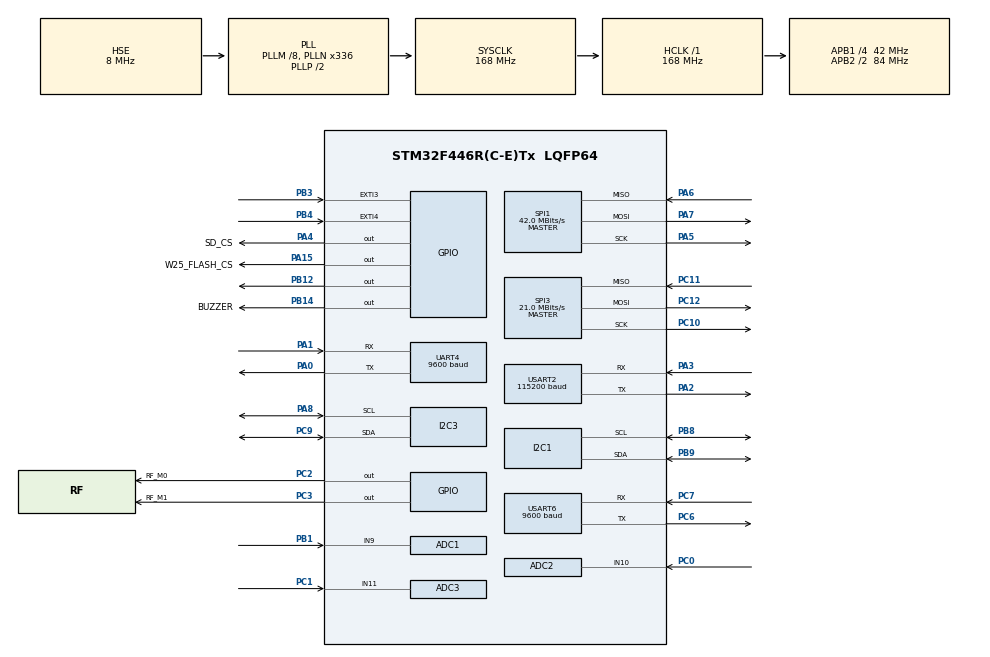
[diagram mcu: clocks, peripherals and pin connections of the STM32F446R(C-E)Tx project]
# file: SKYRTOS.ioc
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ADC1.Channel-1\#ChannelRegularConversion=ADC_CHANNEL_9
ADC1.NbrOfConversionFlag=1
ADC1.Rank-1\#ChannelRegularConversion=1
ADC1.SamplingTime-1\#ChannelRegularConversion=ADC_SAMPLETIME_15CYCLES
ADC1.master=1
ADC2.Channel-0\#ChannelRegularConversion=ADC_CHANNEL_10
ADC2.NbrOfConversionFlag=1
ADC2.Rank-0\#ChannelRegularConversion=1
ADC2.SamplingTime-0\#ChannelRegularConversion=ADC_SAMPLETIME_15CYCLES
ADC3.Channel-0\#ChannelRegularConversion=ADC_CHANNEL_11
ADC3.NbrOfConversionFlag=1
ADC3.Rank-0\#ChannelRegularConversion=1
ADC3.SamplingTime-0\#ChannelRegularConversion=ADC_SAMPLETIME_15CYCLES
Dma.I2C1_RX.3.Direction=DMA_PERIPH_TO_MEMORY
Dma.I2C1_RX.3.FIFOMode=DMA_FIFOMODE_DISABLE
Dma.I2C1_RX.3.Instance=DMA1_Stream0
Dma.I2C1_RX.3.MemDataAlignment=DMA_MDATAALIGN_BYTE
Dma.I2C1_RX.3.MemInc=DMA_MINC_ENABLE
Dma.I2C1_RX.3.Mode=DMA_NORMAL
Dma.I2C1_RX.3.PeriphDataAlignment=DMA_PDATAALIGN_BYTE
Dma.I2C1_RX.3.PeriphInc=DMA_PINC_DISABLE
Dma.I2C1_RX.3.Priority=DMA_PRIORITY_LOW
Dma.Request0=USART6_RX
Dma.Request1=USART2_TX
Dma.Request2=UART4_TX
Dma.Request3=I2C1_RX
Dma.Request4=USART2_RX
Dma.UART4_TX.2.Direction=DMA_MEMORY_TO_PERIPH
Dma.UART4_TX.2.FIFOMode=DMA_FIFOMODE_DISABLE
Dma.UART4_TX.2.Instance=DMA1_Stream4
Dma.UART4_TX.2.MemDataAlignment=DMA_MDATAALIGN_BYTE
Dma.UART4_TX.2.MemInc=DMA_MINC_ENABLE
Dma.UART4_TX.2.Mode=DMA_NORMAL
Dma.UART4_TX.2.PeriphDataAlignment=DMA_PDATAALIGN_BYTE
Dma.UART4_TX.2.PeriphInc=DMA_PINC_DISABLE
Dma.UART4_TX.2.Priority=DMA_PRIORITY_LOW
Dma.USART2_RX.4.Direction=DMA_PERIPH_TO_MEMORY
Dma.USART2_RX.4.FIFOMode=DMA_FIFOMODE_DISABLE
Dma.USART2_RX.4.Instance=DMA1_Stream5
Dma.USART2_RX.4.MemDataAlignment=DMA_MDATAALIGN_BYTE
Dma.USART2_RX.4.MemInc=DMA_MINC_ENABLE
Dma.USART2_RX.4.Mode=DMA_NORMAL
Dma.USART2_RX.4.PeriphDataAlignment=DMA_PDATAALIGN_BYTE
Dma.USART2_RX.4.PeriphInc=DMA_PINC_DISABLE
Dma.USART2_RX.4.Priority=DMA_PRIORITY_LOW
Dma.USART2_TX.1.Direction=DMA_MEMORY_TO_PERIPH
Dma.USART2_TX.1.FIFOMode=DMA_FIFOMODE_DISABLE
Dma.USART2_TX.1.Instance=DMA1_Stream6
Dma.USART2_TX.1.MemDataAlignment=DMA_MDATAALIGN_BYTE
Dma.USART2_TX.1.MemInc=DMA_MINC_ENABLE
Dma.USART2_TX.1.Mode=DMA_NORMAL
Dma.USART2_TX.1.PeriphDataAlignment=DMA_PDATAALIGN_BYTE
Dma.USART2_TX.1.PeriphInc=DMA_PINC_DISABLE
Dma.USART2_TX.1.Priority=DMA_PRIORITY_LOW
Dma.USART6_RX.0.Direction=DMA_PERIPH_TO_MEMORY
Dma.USART6_RX.0.FIFOMode=DMA_FIFOMODE_DISABLE
Dma.USART6_RX.0.Instance=DMA2_Stream2
Dma.USART6_RX.0.MemDataAlignment=DMA_MDATAALIGN_BYTE
Dma.USART6_RX.0.MemInc=DMA_MINC_ENABLE
Dma.USART6_RX.0.Mode=DMA_CIRCULAR
Dma.USART6_RX.0.PeriphDataAlignment=DMA_PDATAALIGN_BYTE
Dma.USART6_RX.0.PeriphInc=DMA_PINC_DISABLE
Dma.USART6_RX.0.Priority=DMA_PRIORITY_LOW
FREERTOS.Tasks01=defaultTask,24,128,StartDefaultTask,Default,NULL,Dynamic,NULL,NULL
FREERTOS.configENABLE_FPU=1
Mcu.Family=STM32F4
Mcu.Name=STM32F446R(C-E)Tx
Mcu.Package=LQFP64
NVIC.DMA1_Stream0_IRQn=true\:5\:0\:false\:false\:true\:true\:false\:true\:true
NVIC.DMA1_Stream4_IRQn=true\:5\:0\:false\:false\:true\:true\:false\:true\:true
NVIC.DMA1_Stream5_IRQn=true\:5\:0\:false\:false\:true\:true\:false\:true\:true
NVIC.DMA1_Stream6_IRQn=true\:5\:0\:false\:false\:true\:true\:false\:true\:true
NVIC.DMA2_Stream2_IRQn=true\:5\:0\:false\:false\:true\:true\:false\:true\:true
NVIC.EXTI3_IRQn=true\:5\:0\:false\:false\:true\:true\:true\:true\:true
NVIC.EXTI4_IRQn=true\:5\:0\:false\:false\:true\:true\:true\:true\:true
NVIC.I2C1_EV_IRQn=true\:5\:0\:false\:false\:true\:true\:true\:true\:true
NVIC.PriorityGroup=NVIC_PRIORITYGROUP_4
NVIC.TIM2_IRQn=true\:5\:0\:false\:false\:true\:true\:true\:true\:true
NVIC.TIM6_DAC_IRQn=true\:15\:0\:false\:false\:true\:false\:false\:true\:true
NVIC.TimeBase=TIM6_DAC_IRQn
NVIC.TimeBaseIP=TIM6
NVIC.UART4_IRQn=true\:5\:0\:false\:false\:true\:true\:true\:true\:true
NVIC.USART2_IRQn=true\:5\:0\:false\:false\:true\:true\:true\:true\:true
NVIC.USART6_IRQn=true\:5\:0\:false\:false\:true\:true\:true\:true\:true
PA0-WKUP.Mode=Asynchronous
PA0-WKUP.Signal=UART4_TX
PA1.Mode=Asynchronous
PA1.Signal=UART4_RX
PA13.Mode=Serial_Wire
PA13.Signal=SYS_JTMS-SWDIO
PA14.Mode=Serial_Wire
PA14.Signal=SYS_JTCK-SWCLK
PA15.GPIO_Label=W25_FLASH_CS
PA15.Signal=GPIO_Output
PA2.Mode=Asynchronous
PA2.Signal=USART2_TX
PA3.Mode=Asynchronous
PA3.Signal=USART2_RX
PA4.GPIO_Label=SD_CS
PA4.Signal=GPIO_Output
PA5.Mode=Full_Duplex_Master
PA5.Signal=SPI1_SCK
PA6.Mode=Full_Duplex_Master
PA6.Signal=SPI1_MISO
PA7.Mode=Full_Duplex_Master
PA7.Signal=SPI1_MOSI
PA8.GPIO_Pu=GPIO_NOPULL
PA8.Mode=I2C
PA8.Signal=I2C3_SCL
PB1.Signal=ADCx_IN9
PB12.GPIO_Speed=GPIO_SPEED_FREQ_VERY_HIGH
PB12.Signal=GPIO_Output
PB14.GPIO_Label=BUZZER
PB14.Signal=GPIO_Output
PB3.Signal=GPXTI3
PB4.Signal=GPXTI4
PB8.Mode=I2C
PB8.Signal=I2C1_SCL
PB9.Mode=I2C
PB9.Signal=I2C1_SDA
PC0.Signal=ADCx_IN10
PC1.Signal=ADCx_IN11
PC10.Mode=Full_Duplex_Master
PC10.Signal=SPI3_SCK
PC11.Mode=Full_Duplex_Master
PC11.Signal=SPI3_MISO
PC12.Mode=Full_Duplex_Master
PC12.Signal=SPI3_MOSI
PC14-OSC32_IN.Mode=LSE-External-Oscillator
PC14-OSC32_IN.Signal=RCC_OSC32_IN
PC15-OSC32_OUT.Mode=LSE-External-Oscillator
PC15-OSC32_OUT.Signal=RCC_OSC32_OUT
PC2.GPIO_Label=RF_M0
PC2.Signal=GPIO_Output
PC3.GPIO_Label=RF_M1
PC3.Signal=GPIO_Output
PC6.Mode=Asynchronous
PC6.Signal=USART6_TX
PC7.Mode=Asynchronous
PC7.Signal=USART6_RX
PC9.GPIO_Pu=GPIO_NOPULL
PC9.Mode=I2C
PC9.Signal=I2C3_SDA
PH0-OSC_IN.Mode=HSE-External-Oscillator
PH0-OSC_IN.Signal=RCC_OSC_IN
PH1-OSC_OUT.Mode=HSE-External-Oscillator
PH1-OSC_OUT.Signal=RCC_OSC_OUT
ProjectManager.HeapSize=0x200
ProjectManager.StackSize=0x400
ProjectManager.TargetToolchain=STM32CubeIDE
RCC.AHBFreq_Value=168000000
RCC.APB1CLKDivider=RCC_HCLK_DIV4
RCC.APB1Freq_Value=42000000
RCC.APB1TimFreq_Value=84000000
RCC.APB2CLKDivider=RCC_HCLK_DIV2
RCC.APB2Freq_Value=84000000
RCC.APB2TimFreq_Value=168000000
RCC.CortexFreq_Value=168000000
RCC.HCLKFreq_Value=168000000
RCC.HSE_VALUE=8000000
RCC.PLLM=8
RCC.PLLN=336
RCC.PLLSourceVirtual=RCC_PLLSOURCE_HSE
RCC.SYSCLKFreq_VALUE=168000000
RCC.SYSCLKSource=RCC_SYSCLKSOURCE_PLLCLK
RCC.USBFreq_Value=168000000
RCC.VCOOutputFreq_Value=336000000
SH.ADCx_IN10.0=ADC2_IN10,IN10
SH.ADCx_IN11.0=ADC3_IN11,IN11
SH.ADCx_IN9.0=ADC1_IN9,IN9
SPI1.BaudRatePrescaler=SPI_BAUDRATEPRESCALER_2
SPI1.CalculateBaudRate=42.0 MBits/s
SPI1.Direction=SPI_DIRECTION_2LINES
SPI1.Mode=SPI_MODE_MASTER
SPI1.VirtualType=VM_MASTER
SPI3.CalculateBaudRate=21.0 MBits/s
SPI3.Direction=SPI_DIRECTION_2LINES
SPI3.Mode=SPI_MODE_MASTER
SPI3.VirtualType=VM_MASTER
TIM2.Period=999
TIM2.Prescaler=8399
UART4.BaudRate=9600
UART4.VirtualMode=Asynchronous
USART2.BaudRate=115200
USART2.VirtualMode=VM_ASYNC
USART6.BaudRate=9600
USART6.VirtualMode=VM_ASYNC
VP_FATFS_VS_Generic.Mode=User_defined
VP_FREERTOS_VS_CMSIS_V2.Mode=CMSIS_V2
VP_SYS_VS_tim6.Mode=TIM6
VP_TIM2_VS_ClockSourceINT.Mode=Internal
board=custom

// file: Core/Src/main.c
/* USER CODE BEGIN Header */
/**
  ******************************************************************************
  * @file           : main.c
  * @brief          : Main program body for SkyLord2 Flight Computer
  ******************************************************************************
  * @attention
  *
  * Copyright (c) 2025 STMicroelectronics.
  * All rights reserved.
  *
  * This software is licensed under terms that can be found in the LICENSE file
  * in the root directory of this software component.
  * If no LICENSE file comes with this software, it is provided AS-IS.
  *
  ******************************************************************************
  */

/**
  ******************************************************************************
  * SkyLord2 Flight Computer - Main Application
  *
  * This application implements a comprehensive flight computer system for rocket
  * telemetry and control, featuring:
  *
  * SENSORS:
  * - BME280: Environmental sensor (temperature, humidity, pressure)
  * - BMI088: 6-axis IMU (3-axis accelerometer + 3-axis gyroscope)
  * - HMC1021: Single-axis magnetometer for magnetic field measurement
  * - L86 GPS/GNSS: Position and navigation data
  *
  * COMMUNICATION:
  * - E22 LoRa module: Long-range wireless telemetry transmission
  * - UART: Debug and telemetry output
  *
  * PROCESSING:
  * - Real-time sensor fusion using quaternion-based algorithms
  * - Kalman filtering for noise reduction
  * - Flight state estimation and control
  *
  * TIMING:
  * - 100ms periodic operations for data acquisition
  * - 1s periodic operations for magnetometer calibration
  * - Continuous sensor monitoring and data fusion
  *
  ******************************************************************************
  */
/* USER CODE END Header */
#include "main.h"
#include "cmsis_os.h"
#include "adc.h"
#include "dma.h"
#include "fatfs.h"
#include "i2c.h"
#include "spi.h"
#include "tim.h"
#include "usart.h"
#include "gpio.h"

/* USER CODE BEGIN Includes */

/* Standard library includes */
#include <string.h>
#include <stdio.h>
#include <math.h>

/* Sensor drivers */
#include "bme280.h"          // Environmental sensor (temp, humidity, pressure)
#include "bmi088.h"          // 6-axis IMU (accelerometer + gyroscope)
#include "l86_gnss.h"        // GPS/GNSS module

/* Communication modules */
#include "e22_lib.h"         // LoRa wireless communication
#include "packet.h"          // Telemetry packet handling
#include "data_logger.h"     // SD card data logging

/* Algorithm and processing modules */
#include "queternion.h"      // Quaternion mathematics
#include "sensor_fusion.h"   // Sensor fusion algorithms
#include "flight_algorithm.h" // Flight state detection and control
#include "sensor_mailbox.h"  // Mailbox-based inter-task communication
#include "uart_handler.h"    // UART communication and test mode handling
#include "test_modes.h"      // Test mode handlers (SIT, SUT)

/*MATHEMATICAL CONSTANTS*/
#ifndef M_PI
#define M_PI 3.14159265358979323846f
#endif

/* USER CODE END Includes */

/* USER CODE BEGIN PM */
#define IMU_I2C_HNDLR	hi2c1 //put your I2C handler

#define CRNT_COEF					(float)0.0008056641	// Current coefficient (A)

#define ACCEL_DMA_FLAG		(0x0001U)
#define GYRO_DMA_FLAG		(0x0002U)
#define BME_DATA_READY_FLAG	(0x0004U)
/* USER CODE END PM */

/* USER CODE BEGIN PV */

/*==================== SENSOR STRUCTURES ====================*/
// Environmental sensor (BME280) - temperature, humidity, pressure
static BME_280_t BME280_sensor;         // BME280 barometric pressure sensor
bmi088_struct_t BMI_sensor;             // BMI088 IMU sensor (accelerometer + gyroscope)
sensor_fusion_t sensor_output;          // Sensor fusion output data
BME_parameters_t bme_params;            // BME280 calibration parameters
gps_data_t gnss_data;                   // L86 GNSS receiver data
static e22_conf_struct_t lora_1;        // LoRa configuration structure

extern osThreadId_t bmiTaskHandle;
extern osThreadId_t sensorFusionTaskHandle;
/*==================== COMMUNICATION BUFFERS ====================*/
// UART communication buffers
static char uart_buffer[128];
extern unsigned char normal_paket[50];  // Normal mode telemetry packet
extern unsigned char sd_paket[64];      // SD card data packet

uint8_t usart2_rx_buffer[36];  // UART4 receive buffer

volatile uint8_t usart2_tx_busy = 0;    // UART2 transmission busy flag
volatile uint8_t usart2_packet_ready = 0;  // UART2 packet received flag
volatile uint16_t usart2_packet_size = 0;  // Size of received UART2 packet

/*==================== SENSOR STATUS VARIABLES ====================*/
// Sensor initialization and health status
int is_BME_ok = 0;
int is_BMI_ok = 0;
int bmi_status_ok = 0;

/*==================== ADC BUFFERS AND MAGNETOMETER DATA ====================*/
// General ADC buffers
uint16_t adc1_buffer[1];
uint16_t adc2_buffer[1];
float current_mA = 0.0f;
float voltage_V = 0.0f;

// HMC1021 magnetometer (single axis) data
volatile uint16_t hmc1021_adc_buffer[1];
float hmc1021_voltage = 0.0f;
float hmc1021_gauss = 0.0f;

/*==================== INTERRUPT FLAGS ====================*/
// BMI088 data ready interrupt flags
volatile uint8_t bmi088_accel_data_ready = 0;  // EXTI4 - Accelerometer data ready
volatile uint8_t bmi088_gyro_data_ready = 0;   // EXTI3 - Gyroscope data ready

/* USER CODE END PV */

void SystemClock_Config(void);
void MX_FREERTOS_Init(void);
/* USER CODE BEGIN PFP */
static void bme280_begin(void);
uint8_t bmi_imu_init(void);
void read_ADC(void);
void lora_init(void);
void lora_send_packet_dma(uint8_t *data, uint16_t size);
void uart2_send_packet_dma(uint8_t *data, uint16_t size);

/* USER CODE END PFP */

int main(void)
{

  /* MCU Configuration--------------------------------------------------------*/

  /* Reset of all peripherals, Initializes the Flash interface and the Systick. */
  HAL_Init();

  /* Configure the system clock */
  SystemClock_Config();

  /* Initialize all configured peripherals */
  MX_GPIO_Init();
  MX_DMA_Init();
  MX_I2C1_Init();
  MX_I2C3_Init();
  MX_TIM2_Init();
  MX_USART2_UART_Init();
  MX_ADC1_Init();
  MX_USART6_UART_Init();
  MX_UART4_Init();
  MX_ADC2_Init();
  MX_ADC3_Init();
  MX_SPI1_Init();
  MX_FATFS_Init();
  MX_SPI3_Init();
  /* USER CODE BEGIN 2 */

	/*==================== TIMER AND INTERRUPT CONFIGURATION ====================*/
	// Configure external interrupt priorities for sensor data ready signals
	// Bu öncelikler FreeRTOS için uygun seviyede ayarlanmıştır (>= configLIBRARY_MAX_SYSCALL_INTERRUPT_PRIORITY)
	DWT->CTRL |= (1 << 0);
	SEGGER_SYSVIEW_Conf();

	HAL_NVIC_SetPriority(EXTI3_IRQn, 6, 1);
	HAL_NVIC_SetPriority(EXTI4_IRQn, 6, 1);

	// Enable external interrupts for sensor data ready signals
	HAL_NVIC_EnableIRQ(EXTI4_IRQn);
	HAL_NVIC_EnableIRQ(EXTI3_IRQn);

	/* ==== GPS/GNSS INITIALIZATION ==== */
	// Initialize L86 GPS/GNSS module
	HAL_UART_Transmit(&huart6, (uint8_t*)"$PMTK251,57600*2C\r\n", 19, 100);
	HAL_UART_DeInit(&huart6);
	huart6.Init.BaudRate = 57600;
	HAL_UART_Init(&huart6);
	HAL_DMA_Init(&hdma_usart6_rx);
	L86_GNSS_Init(&huart6);

	/* ==== SENSOR INITIALIZATION ==== */
	// Initialize BME280 sensor (temperature, humidity, pressure)
	bme280_begin();
	HAL_Delay(1000);
	bme280_config();
	bme280_update();

	// Initialize BMI088 IMU (accelerometer and gyroscope)
	bmi_imu_init();
	bmi088_config(&BMI_sensor);
	get_offset(&BMI_sensor);

	/*==================== SENSOR FUSION INITIALIZATION ====================*/
	// Initialize quaternion-based sensor fusion
	getInitialQuaternion();
	sensor_fusion_init(&BME280_sensor);

	/* ==== LORA COMMUNICATION SETUP ==== */
	e22_config_mode(&lora_1);
	HAL_Delay(20);
	lora_init();
	HAL_Delay(20);
	e22_transmit_mode(&lora_1);

	/* ==== DATA LOGGER INITIALIZATION ==== */
	//data_logger_init();
	BME280_sensor.altitude = BME280_sensor.altitude - BME280_sensor.base_altitude;

	// Startup beep to indicate system ready
	HAL_GPIO_WritePin(BUZZER_GPIO_Port, BUZZER_Pin, SET);
	HAL_Delay(300);
	HAL_GPIO_WritePin(BUZZER_GPIO_Port, BUZZER_Pin, RESET);

  /* USER CODE END 2 */

  /* Init scheduler */
  osKernelInitialize();  /* Call init function for freertos objects (in cmsis_os2.c) */
  MX_FREERTOS_Init();

  /* Start scheduler */
  osKernelStart();

  /* We should never get here as control is now taken by the scheduler */

  /* Infinite loop */
  while (1)
  {

    /* USER CODE BEGIN 3 */
    // Main loop is now empty - all work is done in FreeRTOS tasks
  }
  /* USER CODE END 3 */
}

void SystemClock_Config(void)
{
  RCC_OscInitTypeDef RCC_OscInitStruct = {0};
  RCC_ClkInitTypeDef RCC_ClkInitStruct = {0};

  /** Configure the main internal regulator output voltage
  */
  __HAL_RCC_PWR_CLK_ENABLE();
  __HAL_PWR_VOLTAGESCALING_CONFIG(PWR_REGULATOR_VOLTAGE_SCALE1);

  /** Initializes the RCC Oscillators according to the specified parameters
  * in the RCC_OscInitTypeDef structure.
  */
  RCC_OscInitStruct.OscillatorType = RCC_OSCILLATORTYPE_HSE;
  RCC_OscInitStruct.HSEState = RCC_HSE_ON;
  RCC_OscInitStruct.PLL.PLLState = RCC_PLL_ON;
  RCC_OscInitStruct.PLL.PLLSource = RCC_PLLSOURCE_HSE;
  RCC_OscInitStruct.PLL.PLLM = 8;
  RCC_OscInitStruct.PLL.PLLN = 336;
  RCC_OscInitStruct.PLL.PLLP = RCC_PLLP_DIV2;
  RCC_OscInitStruct.PLL.PLLQ = 2;
  RCC_OscInitStruct.PLL.PLLR = 2;
  if (HAL_RCC_OscConfig(&RCC_OscInitStruct) != HAL_OK)
  {
    Error_Handler();
  }

  /** Initializes the CPU, AHB and APB buses clocks
  */
  RCC_ClkInitStruct.ClockType = RCC_CLOCKTYPE_HCLK|RCC_CLOCKTYPE_SYSCLK
                              |RCC_CLOCKTYPE_PCLK1|RCC_CLOCKTYPE_PCLK2;
  RCC_ClkInitStruct.SYSCLKSource = RCC_SYSCLKSOURCE_PLLCLK;
  RCC_ClkInitStruct.AHBCLKDivider = RCC_SYSCLK_DIV1;
  RCC_ClkInitStruct.APB1CLKDivider = RCC_HCLK_DIV4;
  RCC_ClkInitStruct.APB2CLKDivider = RCC_HCLK_DIV2;

  if (HAL_RCC_ClockConfig(&RCC_ClkInitStruct, FLASH_LATENCY_5) != HAL_OK)
  {
    Error_Handler();
  }
}

/* USER CODE BEGIN 4 */

/**
 * @brief Initialize BMI088 IMU sensor
 * @return Initialization status
 * @note Configures both accelerometer and gyroscope with optimal settings
 */
uint8_t bmi_imu_init(void)
{
  // Accelerometer configuration
  BMI_sensor.device_config.acc_bandwith = ACC_BWP_OSR4;
  BMI_sensor.device_config.acc_outputDateRate = ACC_ODR_100;
  BMI_sensor.device_config.acc_powerMode = ACC_PWR_SAVE_ACTIVE;
  BMI_sensor.device_config.acc_range = ACC_RANGE_24G;

  // Gyroscope configuration
  BMI_sensor.device_config.gyro_bandWidth = GYRO_BW_12;
  BMI_sensor.device_config.gyro_range = GYRO_RANGE_2000;
  BMI_sensor.device_config.gyro_powerMode = GYRO_LPM_NORMAL;

  // Interrupt and I2C configuration
  BMI_sensor.device_config.acc_IRQ = EXTI3_IRQn;
  BMI_sensor.device_config.gyro_IRQ = EXTI4_IRQn;
  BMI_sensor.device_config.BMI_I2c = &IMU_I2C_HNDLR;
  BMI_sensor.device_config.offsets = NULL; // Offset data stored in backup SRAM

  return bmi088_init(&BMI_sensor);
}

/**
 * @brief GPIO external interrupt callback
 * @param GPIO_Pin The pin that triggered the interrupt
 * @note Handles BMI088 accelerometer and gyroscope data ready interrupts
 * @note Starts corresponding DMA transfers directly from the ISR context
 */
void HAL_GPIO_EXTI_Callback(uint16_t GPIO_Pin)
{
  if(GPIO_Pin == GPIO_PIN_4)
  {
    // Gyroscope data ready interrupt (EXTI3)
    bmi088_set_gyro_INT(&BMI_sensor);
    bmi088_start_gyro_dma(&BMI_sensor);
  }
  if(GPIO_Pin == GPIO_PIN_3)
  {
    // Accelerometer data ready interrupt (EXTI4)
    bmi088_set_accel_INT(&BMI_sensor);
    bmi088_start_accel_dma(&BMI_sensor);
  }
}

/**
 * @brief UART transmission complete callback
 * @param huart UART handle
 * @note Clears transmission busy flag
 */
void HAL_UART_TxCpltCallback(UART_HandleTypeDef *huart)
{
    if (huart->Instance == USART2) {
        usart2_tx_busy = 0;
    }
}

/**
 * @brief Send packet via UART2 using DMA
 * @param data Pointer to data buffer
 * @param size Size of data to send
 * @note Non-blocking transmission using DMA
 */
void uart2_send_packet_dma(uint8_t *data, uint16_t size)
{
    if (!usart2_tx_busy) {
        usart2_tx_busy = 1;
        HAL_UART_Transmit_DMA(&huart2, data, size);
    }
}

/**
 * @brief UART receive event callback
 * @param huart UART handle
 * @param Size Number of bytes received
 * @note Handles UART2 packet reception with DMA
 */
void HAL_UARTEx_RxEventCallback(UART_HandleTypeDef *huart, uint16_t Size)
{
	if (huart->Instance == USART2) {
		usart2_packet_ready = 1;
		usart2_packet_size = Size;
		// Restart RX DMA for next packet
		HAL_UARTEx_ReceiveToIdle_DMA(&huart2, usart2_rx_buffer, sizeof(usart2_rx_buffer));
		__HAL_DMA_DISABLE_IT(huart2.hdmarx, DMA_IT_HT); // Disable half-transfer interrupt
	}
}

/**
 * @brief I2C Memory read complete callback (DMA)
 * @param hi2c I2C handle
 * @note Handles BMI088 sensor data DMA transfer completion
 */
void HAL_I2C_MemRxCpltCallback(I2C_HandleTypeDef *hi2c)
{
    // Debug: increment a counter to see if this callback is called
    static uint32_t i2c_callback_counter = 0;
    i2c_callback_counter++;

    if (hi2c->Instance == I2C1) {
      if (hi2c->Devaddress == ACC_I2C_ADD) {
        // Accelerometer data received (9 bytes: XYZ + sensor time)
        bmi088_accel_dma_complete_callback(&BMI_sensor);
        if(bmiTaskHandle != NULL)
        {
          osThreadFlagsSet(bmiTaskHandle, ACCEL_DMA_FLAG);
        }
      }
      else if (hi2c->Devaddress == GYRO_I2C_ADD) {
        // Gyroscope data received (6 bytes: XYZ)
        bmi088_gyro_dma_complete_callback(&BMI_sensor);
        if(bmiTaskHandle != NULL)
        {
          osThreadFlagsSet(bmiTaskHandle, GYRO_DMA_FLAG);
        }
      }
    }
}

/**
  * @brief  Function implementing the telemetry task.
  * @param  argument: Not used
  * @retval None
  * @note   Uses vTaskDelayUntil for deterministic 10Hz timing
  * @note   Reads latest data from all mailboxes for packet creation
  */
void StartTelemetryTask(void *argument)
{
  /* USER CODE BEGIN StartTelemetryTask */
  fused_sample_t fused_data;
  gnss_sample_t gnss_data_local;
  adc_sample_t adc_data;
  bmi_sample_t bmi_data;
  bme_sample_t bme_data;
  TickType_t xLastWakeTime;
  const TickType_t xPeriod = pdMS_TO_TICKS(100);  // 10 Hz

  /* Phase offset: 60ms - runs after sensor tasks to get fresh data */
  osDelay(60);
  xLastWakeTime = xTaskGetTickCount();

  /* Infinite loop */
  for(;;)
  {
    // Wait for next cycle (deterministic timing)
    vTaskDelayUntil(&xLastWakeTime, xPeriod);

        // Get latest data from all mailboxes (non-blocking peek)
    mailbox_peek_fused(&fused_data);
    mailbox_peek_bmi(&bmi_data);
    mailbox_peek_bme(&bme_data);
    mailbox_peek_gnss(&gnss_data_local);
    mailbox_peek_adc(&adc_data);

    // Create telemetry packets using updated global structures
    addDataPacketNormal(&bme_data, &bmi_data, &fused_data, &gnss_data_local, adc_data.magnetometer, adc_data.voltage, adc_data.current);

    // Send data via UART2 using DMA
    uart2_send_packet_dma((uint8_t*)normal_paket, 50);

    // Send data via LoRa using DMA
    //lora_send_packet_dma((uint8_t*)normal_paket, 50);
  }
  /* USER CODE END StartTelemetryTask */
}

/**
  * @brief  Function implementing the BMI088 sensor task.
  * @param  argument: Not used
  * @retval None
  * @note   Interrupt-driven: Task waits on thread flags raised by DMA completion
  * @note   Uses system tick for delta_time calculation (more reliable in FreeRTOS)
  * @note   Sends data to bmiMailbox for consumer tasks
  */
void StartBMITask(void *argument)
{
  /* USER CODE BEGIN StartBMITask */
  bmi_sample_t bmi_sample;
  uint32_t notifiedFlags;

  /* Infinite loop */
  for(;;)
  {
    notifiedFlags = osThreadFlagsWait(ACCEL_DMA_FLAG | GYRO_DMA_FLAG, osFlagsWaitAny, osWaitForever);
    if(((int32_t)notifiedFlags) < 0)
    {
      continue;
    }

    if((notifiedFlags & ACCEL_DMA_FLAG) != 0U)
    {
      SEGGER_SYSVIEW_Print("ACCEL");
      bmi088_process_accel_data(&BMI_sensor);
    }

    if((notifiedFlags & GYRO_DMA_FLAG) != 0U)
    {
      SEGGER_SYSVIEW_Print("GYRO");
      bmi088_process_gyro_data(&BMI_sensor);
    }

    // Prepare sample for mailbox
    bmi_sample.timestamp = HAL_GetTick();
    bmi_sample.accel_x = BMI_sensor.datas.acc_x;
    bmi_sample.accel_y = BMI_sensor.datas.acc_y;
    bmi_sample.accel_z = BMI_sensor.datas.acc_z;
    bmi_sample.gyro_x = BMI_sensor.datas.gyro_x;
    bmi_sample.gyro_y = BMI_sensor.datas.gyro_y;
    bmi_sample.gyro_z = BMI_sensor.datas.gyro_z;
    bmi_sample.theta = BMI_sensor.datas.theta;
    bmi_sample.delta_time = BMI_sensor.datas.delta_time;
    bmi_sample.roll = BMI_sensor.datas.roll;
    bmi_sample.pitch = BMI_sensor.datas.pitch;
    bmi_sample.yaw = BMI_sensor.datas.yaw;

    // Send to mailbox (overwrites existing, non-blocking)
    mailbox_send_bmi(&bmi_sample);
  }
  /* USER CODE END StartBMITask */
}

/**
  * @brief  Function implementing the BME280 sensor task.
  * @param  argument: Not used
  * @retval None
  * @note   Uses vTaskDelayUntil for deterministic 10Hz timing
  * @note   Sends data to bmeMailbox for consumer tasks
  */
void StartBMETask(void *argument)
{
  /* USER CODE BEGIN StartBMETask */
  bme_sample_t bme_sample;
  TickType_t xLastWakeTime;
  const TickType_t xPeriod = pdMS_TO_TICKS(100);  // 10 Hz

  /* Phase offset: 0ms (reference task - runs first to provide data) */
  xLastWakeTime = xTaskGetTickCount();

  /* Infinite loop */
  for(;;)
  {
    // Wait for next cycle (deterministic timing)
    vTaskDelayUntil(&xLastWakeTime, xPeriod);

    // Update BME280 barometric pressure sensor data
    bme280_update();

    // Prepare sample for mailbox
    bme_sample.timestamp = HAL_GetTick();
    bme_sample.temperature = BME280_sensor.temperature;
    bme_sample.pressure = BME280_sensor.pressure;
    bme_sample.humidity = BME280_sensor.humidity;
    bme_sample.altitude = BME280_sensor.altitude;

    // Send to mailbox (overwrites existing, non-blocking)
    mailbox_send_bme(&bme_sample);

    // Notify sensor fusion task that new BME data is ready
    if(sensorFusionTaskHandle != NULL)
    {
      osThreadFlagsSet(sensorFusionTaskHandle, BME_DATA_READY_FLAG);
    }
  }
  /* USER CODE END StartBMETask */
}

/**
  * @brief  Function implementing the sensor fusion task.
  * @param  argument: Not used
  * @retval None
  * @note   Reads latest data from mailboxes for sensor fusion
  * @note   Outputs fused data to fusedMailbox
  */
void StartSensorFusionTask(void *argument)
{
  /* USER CODE BEGIN StartSensorFusionTask */
  bmi_sample_t bmi_data;
  bme_sample_t bme_data;
  fused_sample_t fused_output;
  uint32_t flags;
  uint8_t bme_data_valid;
  uint8_t bmi_data_valid;

  /* Infinite loop */
  for(;;)
  {
    // Skip sensor fusion when in test mode (SIT or SUT)
    if (uart_handler_get_mode() != MODE_NORMAL) {
      osDelay(100);  // Wait and check again
      continue;
    }

    // Wait for BME data ready notification with 200ms timeout
    flags = osThreadFlagsWait(BME_DATA_READY_FLAG, osFlagsWaitAny, 200);

    if(flags == osFlagsErrorTimeout)
    {
      // Timeout: BME data not received within 200ms, use BMI only
      bme_data_valid = 0;
    }
    else if(((int32_t)flags) < 0)
    {
      continue; // Other error occurred, retry
    }
    else
    {
      // BME data received successfully
      bme_data_valid = 1;
    }

    // Get latest data from mailboxes (non-blocking peek)
    bmi_data_valid = (mailbox_peek_bmi(&bmi_data) == pdTRUE) ? 1 : 0;
    if(bme_data_valid) {
      bme_data_valid = (mailbox_peek_bme(&bme_data) == pdTRUE) ? 1 : 0;
    }

    // Perform sensor fusion - with or without BME data
    if(bme_data_valid && bmi_data_valid)
    {
      // Full sensor fusion with BME280 + BMI088
      sensor_fusion_update_kalman(&bme_data, &bmi_data, &fused_output);
    }
    else if(bmi_data_valid)
    {
      // IMU-only fusion (no barometer update)
      sensor_fusion_update_imu_only(&bmi_data, &fused_output);
    }
    else
    {
      // No valid sensor data, skip this cycle
      continue;
    }

    // Update flight algorithm (launch detection, apogee, etc.)
    flight_algorithm_update(&bme_data, &bmi_data, &fused_output);

    // Send to mailbox (overwrites existing, non-blocking)
    mailbox_send_fused(&fused_output);
  }
  /* USER CODE END StartSensorFusionTask */
}

/**
  * @brief  Function implementing the ADC reading task.
  * @param  argument: Not used
  * @retval None
  * @note   Uses vTaskDelayUntil for deterministic 10Hz timing
  * @note   Sends data to adcMailbox for consumer tasks
  */
void StartADCTask(void *argument)
{
  /* USER CODE BEGIN StartADCTask */
  adc_sample_t adc_sample;
  TickType_t xLastWakeTime;
  const TickType_t xPeriod = pdMS_TO_TICKS(100);  // 10 Hz

  /* Phase offset: 20ms - stagger CPU load across 100ms period */
  osDelay(20);
  xLastWakeTime = xTaskGetTickCount();

  /* Infinite loop */
  for(;;)
  {
    // Wait for next cycle (deterministic timing)
    vTaskDelayUntil(&xLastWakeTime, xPeriod);

    // Read ADC channels (magnetometer, voltage, current)
    read_ADC();

    // Prepare sample for mailbox
    adc_sample.timestamp = HAL_GetTick();
    adc_sample.magnetometer = hmc1021_gauss;
    adc_sample.voltage = voltage_V;
    adc_sample.current = current_mA;

    // Send to mailbox (overwrites existing, non-blocking)
    mailbox_send_adc(&adc_sample);
  }
  /* USER CODE END StartADCTask */
}

/**
  * @brief  Function implementing the GNSS task.
  * @param  argument: Not used
  * @retval None
  * @note   Uses vTaskDelayUntil for deterministic 10Hz timing
  * @note   Sends data to gnssMailbox for consumer tasks
  */
void StartGNSSTask(void *argument)
{
  /* USER CODE BEGIN StartGNSSTask */
  gnss_sample_t gnss_sample;
  TickType_t xLastWakeTime;
  const TickType_t xPeriod = pdMS_TO_TICKS(100);  // 10 Hz

  /* Phase offset: 40ms - stagger CPU load across 100ms period */
  osDelay(40);
  xLastWakeTime = xTaskGetTickCount();

  /* Infinite loop */
  for(;;)
  {
    // Wait for next cycle (deterministic timing)
    vTaskDelayUntil(&xLastWakeTime, xPeriod);

    // Update GPS/GNSS data
    L86_GNSS_Update(&gnss_data);

    // Prepare sample for mailbox
    gnss_sample.timestamp = HAL_GetTick();
    gnss_sample.latitude = gnss_data.latitude;
    gnss_sample.longitude = gnss_data.longitude;
    gnss_sample.altitude = gnss_data.altitude;
    gnss_sample.speed = gnss_data.speed_over_ground;
    gnss_sample.fix_status = gnss_data.fix_status;
    gnss_sample.satellites = gnss_data.satellites_in_use;
    gnss_sample.is_valid = gnss_data.is_valid;

    // Send to mailbox (overwrites existing, non-blocking)
    mailbox_send_gnss(&gnss_sample);
  }
  /* USER CODE END StartGNSSTask */
}

/**
  * @brief  Function implementing the data logger task.
  * @param  argument: Not used
  * @retval None
  * @note   Uses vTaskDelayUntil for deterministic 10Hz timing
  * @note   Reads latest data from all mailboxes for SD card logging
  */
void StartDataLoggerTask(void *argument)
{
  /* USER CODE BEGIN StartDataLoggerTask */
  fused_sample_t fused_data;
  bmi_sample_t bmi_data;
  bme_sample_t bme_data;
  gnss_sample_t gnss_data_local;
  adc_sample_t adc_data;
  TickType_t xLastWakeTime;
  const TickType_t xPeriod = pdMS_TO_TICKS(100);  // 10 Hz

  /* Phase offset: 80ms - runs last after all sensor data is ready */
  osDelay(80);
  xLastWakeTime = xTaskGetTickCount();

  /* Infinite loop */
  for(;;)
  {
    // Wait for next cycle (deterministic timing)
    vTaskDelayUntil(&xLastWakeTime, xPeriod);

    // Get latest data from all mailboxes (non-blocking peek)
    mailbox_peek_fused(&fused_data);
    mailbox_peek_bmi(&bmi_data);
    mailbox_peek_bme(&bme_data);
    mailbox_peek_gnss(&gnss_data_local);
    mailbox_peek_adc(&adc_data);

    // Create SD card data packet using updated global structures
    addDataPacketSD(&bme_data, &bmi_data, &fused_data, &gnss_data_local, adc_data.magnetometer, adc_data.voltage, adc_data.current);

    // Log data to SD card
    log_normal_packet_data(sd_paket, "gorev.bin");
  }
  /* USER CODE END StartDataLoggerTask */
}

/**
  * @brief  Function implementing the test mode task.
  * @param  argument: Not used
  * @retval None
  * @note   Handles SIT and SUT test modes via UART2
  * @note   When in test mode, StartSensorFusionTask pauses
  */
void StartTestModeTask(void *argument)
{
  /* USER CODE BEGIN StartTestModeTask */
  bmi_sample_t bmi_data;
  bme_sample_t bme_data;
  SystemMode_t current_mode;
  TickType_t xLastWakeTime;
  const TickType_t xPeriod = pdMS_TO_TICKS(100);  // 10 Hz

  /* Initialize UART handler and test modes */
  uart_handler_init();
  test_modes_init();
  flight_algorithm_init();

  /* Start UART2 DMA reception for test commands */
  HAL_UARTEx_ReceiveToIdle_DMA(&huart2, usart2_rx_buffer, sizeof(usart2_rx_buffer));
  __HAL_DMA_DISABLE_IT(huart2.hdmarx, DMA_IT_HT);

  xLastWakeTime = xTaskGetTickCount();

  /* Infinite loop */
  for(;;)
  {
    // Wait for next cycle
    vTaskDelayUntil(&xLastWakeTime, xPeriod);

    // Process incoming UART packets (commands and SUT data)
    uart_handler_process_packets();

    // Handle command processing and system state transitions
    if (uart_handler_command_ready()) {
      uart_handler_clear_command_flag();

      // Reset flight algorithm state when switching to NORMAL mode
      if (uart_handler_get_mode() == MODE_NORMAL) {
        flight_algorithm_reset();
      }
    }

    // Get current mode
    current_mode = uart_handler_get_mode();

    // Handle different test modes
    switch (current_mode) {
      case MODE_NORMAL:
        // Normal mode - other tasks handle sensor processing
        // Nothing to do here
        break;

      case MODE_SIT:
        /* SIT Mode: Sensor Interface Test
         * Tests sensor integration with real-time hardware data
         */
        mailbox_peek_bmi(&bmi_data);
        mailbox_peek_bme(&bme_data);
        test_modes_handle_sit(&bme_data, &bmi_data);
        break;

      case MODE_SUT:
        /* SUT Mode: System Under Test
         * Validates algorithms with synthetic flight data
         */
        algorithm_update_sut();
        break;

      default:
        // Unknown mode - switch to safe (normal) mode
        set_current_mode(MODE_NORMAL);
        break;
    }
  }
  /* USER CODE END StartTestModeTask */
}

/* USER CODE BEGIN 4 */

/**
 * @brief Initialize LoRa E22 module
 * @note Configures LoRa module for telemetry transmission
 */
void lora_init(void)
{
	lora_1.baud_rate 		= 	E22_BAUD_RATE_115200;
	lora_1.parity_bit		=	E22_PARITY_8N1;
	lora_1.air_rate			=	E22_AIR_DATA_RATE_38400;
	lora_1.packet_size		=	E22_PACKET_SIZE_64;
	lora_1.rssi_noise		=	E22_RSSI_NOISE_DISABLE;
	lora_1.power			=	E22_TRANSMITTING_POWER_22;
	lora_1.rssi_enable		=	E22_ENABLE_RSSI_DISABLE;
	lora_1.mode				= 	E22_TRANSMISSION_MODE_TRANSPARENT;
	lora_1.repeater_func	=	E22_REPEATER_FUNC_DISABLE;
	lora_1.lbt				=	E22_LBT_DISABLE;
	lora_1.wor				=	E22_WOR_RECEIVER;
	lora_1.wor_cycle		=	E22_WOR_CYCLE_1000;
	lora_1.channel			=	28;

	e22_init(&lora_1, &huart4);

	HAL_UART_DeInit(&huart4);
	HAL_Delay(20);
	huart4.Init.BaudRate = 115200;
	HAL_Delay(20);
	HAL_UART_Init(&huart4);
}

/**
 * @brief Initialize BME280 environmental sensor
 * @note Configures BME280 with predefined settings for normal operation
 */
void bme280_begin()
{
  BME280_sensor.device_config.bme280_filter = BME280_FILTER_2;
  BME280_sensor.device_config.bme280_mode = BME280_MODE_NORMAL;
  BME280_sensor.device_config.bme280_output_speed = BME280_OS_4;
  BME280_sensor.device_config.bme280_standby_time = BME280_STBY_250;
  bme280_init(&BME280_sensor, &hi2c3);
}

/**
 * @brief Read HMC1021 magnetometer ADC values
 * @note Converts ADC readings to magnetic field strength, voltage and current
 */
void read_ADC()
{
    static uint16_t adc1_raw = 0;  // ADC1 value (Channel 9 - Magnetometer)
    static uint16_t adc2_raw = 0;  // ADC2 value (Channel 10 - Voltage)
    static uint16_t adc3_raw = 0;  // ADC3 value (Channel 11 - Current)

    // Read ADC1 (Magnetometer)
    HAL_ADC_Start(&hadc1);
    if (HAL_ADC_PollForConversion(&hadc1, 5) == HAL_OK) {
        adc1_raw = HAL_ADC_GetValue(&hadc1);
    }
    HAL_ADC_Stop(&hadc1);

    // Read ADC2 (Voltage)
    HAL_ADC_Start(&hadc2);
    if (HAL_ADC_PollForConversion(&hadc2, 5) == HAL_OK) {
        adc2_raw = HAL_ADC_GetValue(&hadc2);
    }
    HAL_ADC_Stop(&hadc2);

    // Read ADC3 (Current)
    HAL_ADC_Start(&hadc3);
    if (HAL_ADC_PollForConversion(&hadc3, 5) == HAL_OK) {
        adc3_raw = HAL_ADC_GetValue(&hadc3);
    }
    HAL_ADC_Stop(&hadc3);

    // Calculate calibrated values
    hmc1021_voltage = (adc1_raw * 3.3f) / 4096.0f;  // 3.3V reference, 12-bit ADC
    voltage_V = (adc2_raw * 13.2f) / 4096.0f;        // Voltage divider calculation
    current_mA = (adc3_raw * CRNT_COEF);             // Current sensor calibration
    hmc1021_gauss = (hmc1021_voltage - 1.65f) / 1.0f; // 1V/Gauss sensitivity

    // LoRa power management based on battery voltage
    if(voltage_V < 7.0){
        e22_sleep_mode(&lora_1);
    }else if(voltage_V >= 7.0){
        e22_transmit_mode(&lora_1);
    }
}

/**
 * @brief Send packet with LORA using DMA
 * @param data Pointer to data buffer
 * @param size Size of data to send
 * @note Non-blocking transmission using DMA
 */
void lora_send_packet_dma(uint8_t *data, uint16_t size)
{
	if (!usart2_tx_busy) {
		usart2_tx_busy = 1;
		HAL_UART_Transmit_DMA(&huart2, data, size);
	}
}

/* USER CODE END 4 */

void HAL_TIM_PeriodElapsedCallback(TIM_HandleTypeDef *htim)
{
  if (htim->Instance == TIM6)
  {
    HAL_IncTick();
  }
}

void Error_Handler(void)
{
  __disable_irq();
  while (1)
  {
  }
}

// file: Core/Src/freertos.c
/* USER CODE BEGIN Header */
/**
  ******************************************************************************
  * File Name          : freertos.c
  * Description        : Code for freertos applications
  ******************************************************************************
  * @attention
  *
  * Copyright (c) 2025 STMicroelectronics.
  * All rights reserved.
  *
  * This software is licensed under terms that can be found in the LICENSE file
  * in the root directory of this software component.
  * If no LICENSE file comes with this software, it is provided AS-IS.
  *
  ******************************************************************************
  */
/* USER CODE END Header */

#include "FreeRTOS.h"
#include "task.h"
#include "main.h"
#include "cmsis_os.h"

/* USER CODE BEGIN Includes */
#include "sensor_mailbox.h"
/* USER CODE END Includes */

/* Definitions for defaultTask */
osThreadId_t defaultTaskHandle;
const osThreadAttr_t defaultTask_attributes = {
  .name = "defaultTask",
  .stack_size = 128 * 4,
  .priority = (osPriority_t) osPriorityNormal,
};

/* USER CODE BEGIN FunctionPrototypes */
/* Definitions for bmiTask */
osThreadId_t bmiTaskHandle;
const osThreadAttr_t bmiTask_attributes = {
  .name = "bmiTask",
  .stack_size = 256 * 4,
  .priority = (osPriority_t) osPriorityRealtime,  // En yüksek öncelik
};

/* Definitions for bmeTask */
osThreadId_t bmeTaskHandle;
const osThreadAttr_t bmeTask_attributes = {
  .name = "bmeTask",
  .stack_size = 256 * 4,
  .priority = (osPriority_t) osPriorityHigh,
};

/* Definitions for sensorFusionTask */
osThreadId_t sensorFusionTaskHandle;
const osThreadAttr_t sensorFusionTask_attributes = {
  .name = "sensorFusionTask",
  .stack_size = 512 * 4,
  .priority = (osPriority_t) osPriorityAboveNormal,
};

/* Definitions for adcTask */
osThreadId_t adcTaskHandle;
const osThreadAttr_t adcTask_attributes = {
  .name = "adcTask",
  .stack_size = 256 * 4,
  .priority = (osPriority_t) osPriorityNormal,
};

/* Definitions for gnssTask */
osThreadId_t gnssTaskHandle;
const osThreadAttr_t gnssTask_attributes = {
  .name = "gnssTask",
  .stack_size = 256 * 4,
  .priority = (osPriority_t) osPriorityNormal,
};

/* Definitions for telemetryTask */
osThreadId_t telemetryTaskHandle;
const osThreadAttr_t telemetryTask_attributes = {
  .name = "telemetryTask",
  .stack_size = 384 * 4,
  .priority = (osPriority_t) osPriorityNormal,
};

/* Definitions for dataLoggerTask */
osThreadId_t dataLoggerTaskHandle;
const osThreadAttr_t dataLoggerTask_attributes = {
  .name = "dataLoggerTask",
  .stack_size = 512 * 4,
  .priority = (osPriority_t) osPriorityBelowNormal,
};

/* Definitions for testModeTask */
osThreadId_t testModeTaskHandle;
const osThreadAttr_t testModeTask_attributes = {
  .name = "testModeTask",
  .stack_size = 512 * 4,
  .priority = (osPriority_t) osPriorityHigh,
};

// FreeRTOS Task Functions
void StartBMITask(void *argument);
void StartBMETask(void *argument);
void StartSensorFusionTask(void *argument);
void StartADCTask(void *argument);
void StartGNSSTask(void *argument);
void StartTelemetryTask(void *argument);
void StartDataLoggerTask(void *argument);
void StartTestModeTask(void *argument);
/* USER CODE END FunctionPrototypes */

void StartDefaultTask(void *argument);

void MX_FREERTOS_Init(void); /* (MISRA C 2004 rule 8.1) */

void MX_FREERTOS_Init(void) {
  /* USER CODE BEGIN Init */
  mailbox_init();
  /* USER CODE END Init */

  /* Create the thread(s) */
  /* creation of defaultTask */
  defaultTaskHandle = osThreadNew(StartDefaultTask, NULL, &defaultTask_attributes);

  /* USER CODE BEGIN RTOS_THREADS */
  /* add threads, ... */

  /* creation of bmiTask */

  bmiTaskHandle = osThreadNew(StartBMITask, NULL, &bmiTask_attributes);

  /* creation of bmeTask */
  bmeTaskHandle = osThreadNew(StartBMETask, NULL, &bmeTask_attributes);

  /* creation of sensorFusionTask */
  sensorFusionTaskHandle = osThreadNew(StartSensorFusionTask, NULL, &sensorFusionTask_attributes);

  /* creation of adcTask */
  adcTaskHandle = osThreadNew(StartADCTask, NULL, &adcTask_attributes);

  /* creation of gnssTask */
  gnssTaskHandle = osThreadNew(StartGNSSTask, NULL, &gnssTask_attributes);

  /* creation of telemetryTask */
  telemetryTaskHandle = osThreadNew(StartTelemetryTask, NULL, &telemetryTask_attributes);

  /* creation of dataLoggerTask */
  dataLoggerTaskHandle = osThreadNew(StartDataLoggerTask, NULL, &dataLoggerTask_attributes);

  // Create test mode task for handling SIT/SUT modes via UART2
  testModeTaskHandle = osThreadNew(StartTestModeTask, NULL, &testModeTask_attributes);
  /* USER CODE END RTOS_THREADS */

}

void StartDefaultTask(void *argument)
{
  /* USER CODE BEGIN StartDefaultTask */
  /* Infinite loop */
	  SEGGER_SYSVIEW_Start();

  for(;;)
  {
    osDelay(100000);
  }
  /* USER CODE END StartDefaultTask */
}
